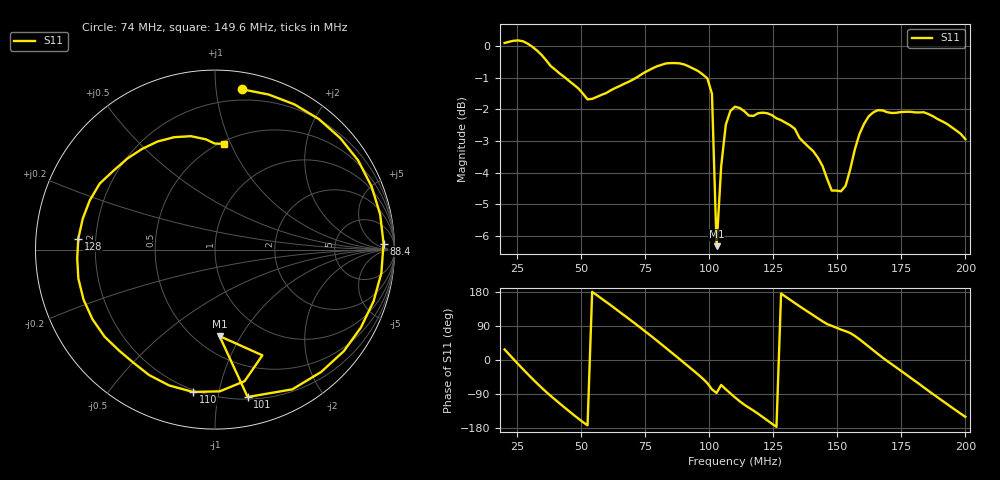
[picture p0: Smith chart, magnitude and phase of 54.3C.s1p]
# HZ S RI R 50
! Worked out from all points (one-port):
!   101 points, 20 MHz to 200 MHz, reference 50 ohm
!   lowest |S11| = -6.3 dB at 102.8 MHz (marker M1), VSWR 2.87, Z = 32.4 - j40.8 ohm
!   |S11| at or under -10 dB: nowhere
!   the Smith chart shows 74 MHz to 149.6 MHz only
!   S11 on the Smith chart (normalised r, x): 74 MHz: 0.12, +1.18; 88.4 MHz: 24, +14; 101 MHz: 0.22, -1.22; 110 MHz: 0.19, -0.84; 128 MHz: 0.13, +0.04; 149.6 MHz: 0.52, +0.94
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2e7  0.8952 0.4725
2.54e7  1.001 -0.2059
3.26e7  0.4756 -0.8629
3.8e7  -0.0756 -0.9278
4.34e7  -0.516 -0.7299
4.88e7  -0.7748 -0.368
5.42e7  -0.8258 0.00321
6.5e7  -0.5141 0.6962
7.4e7  0.1509 0.8932
8.12e7  0.6978 0.6214
8.84e7  0.9392 0.0337
9.56e7  0.7172 -0.5664
1.01e8  0.182 -0.8213
1.028e8  0.0253 -0.482
1.046e8  0.2639 -0.589
1.1e8  -0.1222 -0.7931
1.208e8  -0.6829 -0.3874
1.28e8  -0.7616 0.0618
1.334e8  -0.6421 0.3681
1.406e8  -0.3205 0.602
1.496e8  0.0496 0.589
1.55e8  0.2055 0.6046
1.604e8  0.5307 0.535
1.658e8  0.7612 0.2197
1.712e8  0.7697 -0.1506
1.784e8  0.5471 -0.5668
1.892e8  -0.1195 -0.7575
2e8  -0.6174 -0.3561
